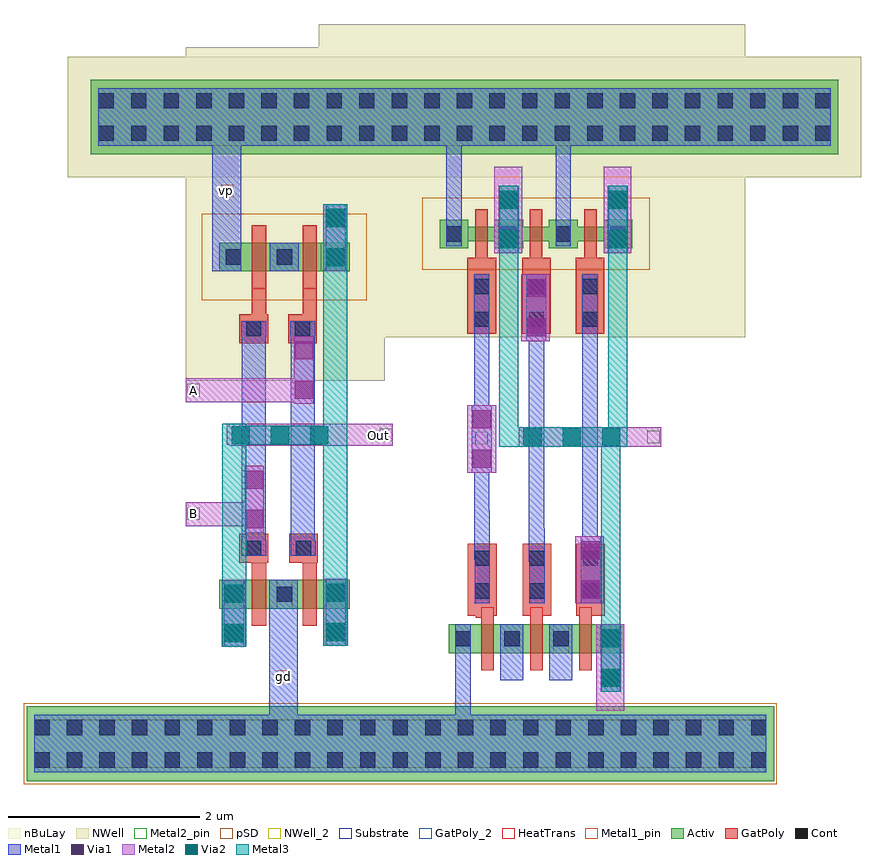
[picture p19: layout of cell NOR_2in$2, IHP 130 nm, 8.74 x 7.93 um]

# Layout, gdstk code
from math import pi, radians
import gdstk
lib = gdstk.Library(unit=1e-6, precision=1e-09)
def R(c, l, rs):  # rectangles x0, y0, x1, y1
    for r in rs: c.add(gdstk.rectangle(r[:2], r[2:], *l))
def A(c, l, x, y, w, h, nx, ny, dx, dy):  # array of equal rectangles
    R(c, l, [(x+i*dx, y+j*dy, x+i*dx+w, y+j*dy+h) for i in range(nx) for j in range(ny)])
Activ = (1, 0)
GatPoly = (5, 0)
GatPoly_2 = (5, 2)
Cont = (6, 0)
Metal1 = (8, 0)
Metal1_pin = (8, 2)
Metal2 = (10, 0)
Metal2_pin = (10, 2)
pSD = (14, 0)
Via1 = (19, 0)
Via2 = (29, 0)
Metal3 = (30, 0)
NWell = (31, 0)
NWell_2 = (31, 2)
nBuLay = (32, 0)
Substrate = (40, 0)
HeatTrans = (51, 0)

pmos_16 = lib.new_cell('pmos$16')
R(pmos_16, Activ, [(0,0,0.3,0.3), (0,0,0.83,0.3), (0.53,0,0.83,0.3)])
R(pmos_16, GatPoly, [(0.34,-0.18,0.49,0.48), (0.34,-0.18,0.49,0.48)])
R(pmos_16, Cont, [(0.07,0.07,0.23,0.23), (0.6,0.07,0.76,0.23)])
R(pmos_16, Metal1, [(0.07,0,0.23,0.3), (0.07,0,0.23,0.3), (0.6,0,0.76,0.3), (0.6,0,0.76,0.3)])
R(pmos_16, pSD, [(-0.18,-0.3,1.01,0.6)])
R(pmos_16, NWell, [(-0.31,-0.31,1.14,0.61)])
R(pmos_16, Substrate, [(0.53,0,0.83,0.3)])
R(pmos_16, HeatTrans, [(0.34,-0.18,0.49,0.48)])
pmos_16.add(gdstk.Label('pmos', (0.415,0.15), layer=63, texttype=0))
pmos_16.add(gdstk.Label('pmos', (0.415,0.15), layer=51, texttype=0))

ntap1_21 = lib.new_cell('ntap1$21')
R(ntap1_21, Activ, [(0,0,1.6,0.78)])
A(ntap1_21, Cont, 0.21, 0.14, 0.16, 0.16, 4, 2, 0.34, 0.34)
R(ntap1_21, Metal1, [(0.21,0.09,1.39,0.69)])
R(ntap1_21, Metal1_pin, [(0.21,0.09,1.39,0.69), (0.21,0.14,1.39,0.64)])
R(ntap1_21, NWell, [(-0.24,-0.24,1.84,1.02), (0,0,1.6,0.78)])
R(ntap1_21, NWell_2, [(0,0,1.6,0.78)])
R(ntap1_21, nBuLay, [(-0.24,-0.24,1.84,1.02)])
ntap1_21.add(gdstk.Label('well', (0.8,0.01), layer=63, texttype=0))
ntap1_21.add(gdstk.Label('well', (0.8,0.01), layer=31, texttype=0))

via_5_10 = lib.new_cell('Via$5$10')
R(via_5_10, GatPoly, [(-0.15,-0.15,0.15,0.15)])
R(via_5_10, Cont, [(-0.08,-0.08,0.08,0.08)])
R(via_5_10, Metal1, [(-0.13,-0.08,0.13,0.08)])

via_6_10 = lib.new_cell('Via$6$10')
R(via_6_10, Metal1, [(-0.105,-0.35,0.105,0.35)])
R(via_6_10, Metal2, [(-0.1,-0.35,0.1,0.35)])
R(via_6_10, Via1, [(-0.095,-0.3,0.095,-0.11), (-0.095,0.11,0.095,0.3)])

ptap1_14 = lib.new_cell('ptap1$14')
R(ptap1_14, Activ, [(0,0,1.6,0.78)])
A(ptap1_14, Cont, 0.21, 0.14, 0.16, 0.16, 4, 2, 0.34, 0.34)
R(ptap1_14, Metal1, [(0.21,0.09,1.39,0.69), (0.21,0.14,1.39,0.64)])
R(ptap1_14, Metal1_pin, [(0.21,0.14,1.39,0.64)])
R(ptap1_14, pSD, [(-0.03,-0.03,1.63,0.81)])
R(ptap1_14, Substrate, [(0,0,1.6,0.78)])
ptap1_14.add(gdstk.Label('sub!', (0.8,0.01), layer=63, texttype=0))
ptap1_14.add(gdstk.Label('sub!', (0.8,0.01), layer=40, texttype=0))

nmos_17 = lib.new_cell('nmos$17')
R(nmos_17, Activ, [(0,0,0.3,0.3), (0,0,0.83,0.3), (0.53,0,0.83,0.3)])
R(nmos_17, GatPoly, [(0.34,-0.18,0.49,0.48)])
R(nmos_17, GatPoly_2, [(0.34,-0.18,0.49,0.48)])
R(nmos_17, Cont, [(0.07,0.07,0.23,0.23), (0.6,0.07,0.76,0.23)])
R(nmos_17, Metal1, [(0.07,0,0.23,0.3), (0.6,0,0.76,0.3)])
R(nmos_17, Metal1_pin, [(0.07,0,0.23,0.3), (0.6,0,0.76,0.3)])
R(nmos_17, HeatTrans, [(0.34,-0.18,0.49,0.48)])
nmos_17.add(gdstk.Label('nmos', (0.415,0.15), layer=63, texttype=0))
nmos_17.add(gdstk.Label('nmos', (0.415,0.15), layer=51, texttype=0))

via_23 = lib.new_cell('Via$23')
R(via_23, Metal2, [(-0.1,-0.35,0.1,0.35)])
R(via_23, Via2, [(-0.095,-0.3,0.095,-0.11), (-0.095,0.11,0.095,0.3)])
R(via_23, Metal3, [(-0.1,-0.35,0.1,0.35)])

via_7_10 = lib.new_cell('Via$7$10')
R(via_7_10, Metal2, [(-0.555,-0.1,0.555,0.1)])
A(via_7_10, Via2, -0.505, -0.095, 0.19, 0.19, 3, 1, 0.41, 0)
R(via_7_10, Metal3, [(-0.555,-0.1,0.555,0.1)])

via_4_8 = lib.new_cell('Via$4$8')
R(via_4_8, Metal1, [(-0.105,-0.35,0.105,0.35)])
R(via_4_8, Metal2, [(-0.1,-0.35,0.1,0.35)])
R(via_4_8, Via1, [(-0.095,-0.3,0.095,-0.11), (-0.095,0.11,0.095,0.3)])

via_7_2_1 = lib.new_cell('Via$7$2$1')
R(via_7_2_1, Metal2, [(-0.1,-0.555,0.1,0.555)])
A(via_7_2_1, Via2, -0.095, -0.505, 0.19, 0.19, 1, 3, 0, 0.41)
R(via_7_2_1, Metal3, [(-0.1,-0.555,0.1,0.555)])

nmos_4_4 = lib.new_cell('nmos$4$4')
A(nmos_4_4, Activ, 0, 0, 0.3, 0.3, 4, 1, 0.51, 0)
R(nmos_4_4, Activ, [(0,0,1.83,0.3)])
A(nmos_4_4, GatPoly, 0.34, -0.18, 0.13, 0.66, 3, 1, 0.51, 0)
R(nmos_4_4, GatPoly_2, [(0.34,-0.18,0.47,0.48)])
A(nmos_4_4, Cont, 0.07, 0.07, 0.16, 0.16, 4, 1, 0.51, 0)
A(nmos_4_4, Metal1, 0.07, 0, 0.16, 0.3, 4, 1, 0.51, 0)
R(nmos_4_4, Metal1_pin, [(0.07,0,0.23,0.3), (0.58,0,0.74,0.3)])
A(nmos_4_4, HeatTrans, 0.34, -0.18, 0.13, 0.66, 3, 1, 0.51, 0)
nmos_4_4.add(gdstk.Label('nmos', (0.405,0.15), layer=63, texttype=0))
nmos_4_4.add(gdstk.Label('nmos', (0.405,0.15), layer=51, texttype=0))
nmos_4_4.add(gdstk.Label('nmos', (0.915,0.15), layer=51, texttype=0))
nmos_4_4.add(gdstk.Label('nmos', (1.425,0.15), layer=51, texttype=0))

ntap1_1_1 = lib.new_cell('ntap1$1$1')
R(ntap1_1_1, Activ, [(0,0,3.5,0.78)])
A(ntap1_1_1, Cont, 0.14, 0.14, 0.16, 0.16, 10, 2, 0.34, 0.34)
R(ntap1_1_1, Metal1, [(0.14,0.09,3.36,0.69)])
R(ntap1_1_1, Metal1_pin, [(0.14,0.09,3.36,0.69), (0.14,0.14,3.36,0.64)])
R(ntap1_1_1, NWell, [(-0.24,-0.24,3.74,1.02), (0,0,3.5,0.78)])
R(ntap1_1_1, NWell_2, [(0,0,3.5,0.78)])
ntap1_1_1.add(gdstk.Label('well', (1.75,0.01), layer=63, texttype=0))
ntap1_1_1.add(gdstk.Label('well', (1.75,0.01), layer=31, texttype=0))

ptap1_3_6 = lib.new_cell('ptap1$3$6')
R(ptap1_3_6, Activ, [(0,0,3.5,0.78)])
A(ptap1_3_6, Cont, 0.14, 0.14, 0.16, 0.16, 10, 2, 0.34, 0.34)
R(ptap1_3_6, Metal1, [(0.14,0.09,3.36,0.69), (0.14,0.14,3.36,0.64)])
R(ptap1_3_6, Metal1_pin, [(0.14,0.14,3.36,0.64)])
R(ptap1_3_6, pSD, [(-0.03,-0.03,3.53,0.81)])
R(ptap1_3_6, Substrate, [(0,0,3.5,0.78)])
ptap1_3_6.add(gdstk.Label('sub!', (1.75,0.01), layer=63, texttype=0))
ptap1_3_6.add(gdstk.Label('sub!', (1.75,0.01), layer=40, texttype=0))

via_5_1 = lib.new_cell('Via$5$1')
R(via_5_1, Metal2, [(-0.1,-0.35,0.1,0.35)])
R(via_5_1, Via2, [(-0.095,-0.3,0.095,-0.11), (-0.095,0.11,0.095,0.3)])
R(via_5_1, Metal3, [(-0.1,-0.35,0.1,0.35)])

via_6_2_1 = lib.new_cell('Via$6$2$1')
R(via_6_2_1, GatPoly, [(-0.32,-0.15,0.32,0.15)])
R(via_6_2_1, Cont, [(-0.25,-0.08,-0.09,0.08), (0.09,-0.08,0.25,0.08)])
R(via_6_2_1, Metal1, [(-0.3,-0.08,0.3,0.08)])

pmos_1_1 = lib.new_cell('pmos$1$1')
A(pmos_1_1, Activ, 0, 0, 0.3, 0.3, 4, 1, 0.57, 0)
R(pmos_1_1, Activ, [(0,0.075,2.01,0.225)])
A(pmos_1_1, GatPoly, 0.37, -0.105, 0.13, 0.51, 3, 1, 0.57, 0)
A(pmos_1_1, Cont, 0.07, 0.07, 0.16, 0.16, 4, 1, 0.57, 0)
A(pmos_1_1, Metal1, 0.07, 0.02, 0.16, 0.26, 4, 1, 0.57, 0)
R(pmos_1_1, pSD, [(-0.18,-0.225,2.19,0.525)])
R(pmos_1_1, NWell, [(-0.31,-0.31,2.32,0.61)])
R(pmos_1_1, Substrate, [(1.71,0,2.01,0.3)])
A(pmos_1_1, HeatTrans, 0.37, -0.105, 0.13, 0.51, 3, 1, 0.57, 0)
pmos_1_1.add(gdstk.Label('pmos', (0.435,0.15), layer=63, texttype=0))
pmos_1_1.add(gdstk.Label('pmos', (0.435,0.15), layer=51, texttype=0))
pmos_1_1.add(gdstk.Label('pmos', (1.005,0.15), layer=51, texttype=0))
pmos_1_1.add(gdstk.Label('pmos', (1.575,0.15), layer=51, texttype=0))

nand_3in_nmosx3_6 = lib.new_cell('NAND_3in_nmosx3$6')
R(nand_3in_nmosx3_6, GatPoly, [(0.115,-3.025,0.245,-2.915), (0.685,-3.025,0.815,-2.915), (0.035,-3.005,0.335,-2.895), (0.605,-3.005,0.905,-2.895), (1.165,-3.005,1.465,-2.895), (0.03,0.58,0.33,0.73), (0.6,0.58,0.9,0.73), (1.16,0.58,1.46,0.73), (0.68,0.68,0.81,0.77), (1.25,0.68,1.38,0.77)])
R(nand_3in_nmosx3_6, Metal1, [(-0.095,-4.15,0.065,-3.37), (0.375,-3.675,0.615,-3.415), (0.885,-3.675,1.125,-3.415), (0.375,-3.435,0.615,-3.095), (0.885,-3.435,1.125,-3.095), (0.67,-2.44,0.835,-2.09), (0.1,-2.42,0.265,-1.91), (0.67,-2.21,0.83,-1.27), (1.23,-2.21,1.39,-1.27), (0.1,-1.91,0.26,-0.56), (0.67,-1.31,0.83,-0.37), (1.23,-1.31,1.39,-0.37), (0.1,-0.62,0.26,-0.04), (1.23,-0.53,1.39,0), (0.67,-0.37,0.83,-0.11), (0.95,1,1.11,1.2), (-0.19,1.01,-0.03,1.15), (-0.19,1.115,-0.03,1.99), (0.95,1.115,1.11,1.94)])
R(nand_3in_nmosx3_6, Metal1_pin, [(0.44,-4.405,0.57,-4.275), (0.74,2.15,0.87,2.28)])
R(nand_3in_nmosx3_6, Metal2, [(1.375,-3.995,1.665,-3.795), (1.375,-3.795,1.665,-3.095), (1.155,-2.875,1.455,-2.175), (0.03,-1.51,0.33,-0.81), (1.62,-1.24,2.05,-1.04), (0.59,-0.14,0.89,0.56), (0.31,0.78,0.6,0.98), (1.45,0.78,1.74,0.98), (0.31,0.98,0.6,1.68), (1.45,0.98,1.74,1.68)])
R(nand_3in_nmosx3_6, Metal2_pin, [(1.255,-2.385,1.385,-2.255), (0.11,-1.215,0.24,-1.085), (1.905,-1.205,2.035,-1.075), (0.69,-0.07,0.82,0.06)])
R(nand_3in_nmosx3_6, Metal3, [(1.425,-3.105,1.625,-2.905), (1.425,-2.905,1.625,-2.5), (1.425,-2.5,1.625,-1.15), (0.36,-1.24,0.56,-0.97), (0.38,-1.24,0.565,-1.04), (1.66,-1.24,1.7,-1.09), (1.5,-1.09,1.7,0.17), (0.36,-0.97,0.56,0.26), (1.5,-0.03,1.7,0.62), (0.36,0.08,0.56,0.78), (1.5,0.62,1.7,0.72), (1.5,0.71,1.7,0.87)])
R(nand_3in_nmosx3_6, NWell, [(-1.52,-0.1,-0.85,3.17), (-0.85,-0.1,2.93,3.17)])
nand_3in_nmosx3_6.add(gdstk.Reference(via_4_8, (1.525,-3.445), rotation=pi))
nand_3in_nmosx3_6.add(gdstk.Reference(via_4_8, (1.315,-2.525), rotation=pi))
nand_3in_nmosx3_6.add(gdstk.Reference(via_4_8, (0.18,-1.16), rotation=pi))
nand_3in_nmosx3_6.add(gdstk.Reference(via_4_8, (0.75,0.21), rotation=pi))
nand_3in_nmosx3_6.add(gdstk.Reference(via_4_8, (0.46,1.13), rotation=pi))
nand_3in_nmosx3_6.add(gdstk.Reference(via_4_8, (1.6,1.13), rotation=pi))
nand_3in_nmosx3_6.add(gdstk.Reference(via_7_2_1, (1.12,-1.14), rotation=3*pi/2))
nand_3in_nmosx3_6.add(gdstk.Reference(nmos_4_4, (1.665,-3.095), rotation=pi))
nand_3in_nmosx3_6.add(gdstk.Reference(ntap1_1_1, (-0.9,1.81)))
nand_3in_nmosx3_6.add(gdstk.Reference(ptap1_3_6, (-0.89,-4.73)))
nand_3in_nmosx3_6.add(gdstk.Reference(via_5_1, (1.525,-3.445), rotation=pi))
nand_3in_nmosx3_6.add(gdstk.Reference(via_5_1, (0.46,1.13), rotation=pi))
nand_3in_nmosx3_6.add(gdstk.Reference(via_5_1, (1.6,1.13), rotation=pi))
nand_3in_nmosx3_6.add(gdstk.Reference(via_6_2_1, (0.185,-2.575), rotation=3*pi/2))
nand_3in_nmosx3_6.add(gdstk.Reference(via_6_2_1, (0.755,-2.575), rotation=3*pi/2))
nand_3in_nmosx3_6.add(gdstk.Reference(via_6_2_1, (1.315,-2.575), rotation=3*pi/2))
nand_3in_nmosx3_6.add(gdstk.Reference(via_6_2_1, (0.18,0.26), rotation=3*pi/2))
nand_3in_nmosx3_6.add(gdstk.Reference(via_6_2_1, (0.75,0.26), rotation=3*pi/2))
nand_3in_nmosx3_6.add(gdstk.Reference(via_6_2_1, (1.31,0.26), rotation=3*pi/2))
nand_3in_nmosx3_6.add(gdstk.Reference(pmos_1_1, (1.75,1.13), rotation=pi))
nand_3in_nmosx3_6.add(gdstk.Label('VP', (0.8,2.21), layer=8, texttype=25))
nand_3in_nmosx3_6.add(gdstk.Label('GND', (0.505,-4.335), layer=8, texttype=25))
nand_3in_nmosx3_6.add(gdstk.Label('y', (1.97,-1.14), layer=10, texttype=25))
nand_3in_nmosx3_6.add(gdstk.Label('b', (0.76,0.02), layer=10, texttype=25))
nand_3in_nmosx3_6.add(gdstk.Label('c', (0.17,-1.15), layer=10, texttype=25))
nand_3in_nmosx3_6.add(gdstk.Label('a', (1.315,-2.325), layer=10, texttype=25))

ptap1_4_1 = lib.new_cell('ptap1$4$1')
R(ptap1_4_1, Activ, [(0,0,7.8,0.78)])
A(ptap1_4_1, Cont, 0.08, 0.14, 0.16, 0.16, 23, 2, 0.34, 0.34)
R(ptap1_4_1, Metal1, [(0.08,0.09,7.72,0.69), (0.08,0.14,7.72,0.64)])
R(ptap1_4_1, Metal1_pin, [(0.08,0.14,7.72,0.64)])
R(ptap1_4_1, pSD, [(-0.03,-0.03,7.83,0.81)])
R(ptap1_4_1, Substrate, [(0,0,7.8,0.78)])
ptap1_4_1.add(gdstk.Label('sub!', (3.9,0.01), layer=63, texttype=0))
ptap1_4_1.add(gdstk.Label('sub!', (3.9,0.01), layer=40, texttype=0))

ntap1_3 = lib.new_cell('ntap1$3')
R(ntap1_3, Activ, [(0,0,7.8,0.78)])
A(ntap1_3, Cont, 0.08, 0.14, 0.16, 0.16, 23, 2, 0.34, 0.34)
R(ntap1_3, Metal1, [(0.08,0.09,7.72,0.69)])
R(ntap1_3, Metal1_pin, [(0.08,0.09,7.72,0.69), (0.08,0.14,7.72,0.64)])
R(ntap1_3, NWell, [(-0.24,-0.24,8.04,1.02), (0,0,7.8,0.78)])
R(ntap1_3, NWell_2, [(0,0,7.8,0.78)])
R(ntap1_3, nBuLay, [(-0.24,-0.24,8.04,1.02)])
ntap1_3.add(gdstk.Label('well', (3.9,0.01), layer=63, texttype=0))
ntap1_3.add(gdstk.Label('well', (3.9,0.01), layer=31, texttype=0))

nor_2in_2 = lib.new_cell('NOR_2in$2')
R(nor_2in_2, GatPoly, [(4.43,0.13,4.58,0.41), (3.9,0.14,4.05,0.41)])
R(nor_2in_2, Metal1, [(3.59,-4.64,4.95,-4.04), (4.09,0.59,4.39,0.89)])
R(nor_2in_2, Metal1_pin, [(4.165,-3.705,4.295,-3.575), (3.575,1.365,3.705,1.495)])
R(nor_2in_2, Metal2, [(3.665,-1.23,5.37,-1)])
R(nor_2in_2, Metal2_pin, [(3.225,-2.005,3.355,-1.875), (5.235,-1.185,5.365,-1.055), (3.225,-0.715,3.355,-0.585)])
R(nor_2in_2, NWell, [(3.21,-0.55,5.29,2.93)])
nor_2in_2.add(gdstk.FlexPath([(3.64,0.59),(3.64,2.5)], 0.3, ends="flush", simple_path=True, layer=8, datatype=0))  # Metal1
nor_2in_2.add(gdstk.FlexPath([(3.92,0.07),(3.92,-2.38)], 0.25, ends="flush", simple_path=True, layer=8, datatype=0))  # Metal1
nor_2in_2.add(gdstk.FlexPath([(4.43,0.07),(4.43,-2.38)], 0.25, ends="flush", simple_path=True, layer=8, datatype=0))  # Metal1
nor_2in_2.add(gdstk.FlexPath([(4.23,-2.63),(4.23,-4.04)], 0.3, ends="flush", simple_path=True, layer=8, datatype=0))  # Metal1
nor_2in_2.add(gdstk.FlexPath([(4.775,-2.62),(4.775,-3.32)], 0.25, ends="flush", simple_path=True, layer=10, datatype=0))  # Metal2
nor_2in_2.add(gdstk.FlexPath([(3.71,-2.63),(3.71,-3.33)], 0.25, ends="flush", simple_path=True, layer=10, datatype=0))  # Metal2
nor_2in_2.add(gdstk.FlexPath([(4.77,1.29),(4.77,0.59)], 0.25, ends="flush", simple_path=True, layer=10, datatype=0))  # Metal2
nor_2in_2.add(gdstk.FlexPath([(4.54,-0.65),(3.21,-0.65)], 0.25, ends="flush", simple_path=True, layer=10, datatype=0))  # Metal2
nor_2in_2.add(gdstk.FlexPath([(4.025,-1.945),(3.21,-1.945)], 0.25, ends="flush", simple_path=True, layer=10, datatype=0))  # Metal2
nor_2in_2.add(gdstk.FlexPath([(4.77,-3.32),(4.77,1.29)], 0.25, ends="flush", simple_path=True, layer=30, datatype=0))  # Metal3
nor_2in_2.add(gdstk.FlexPath([(3.715,-3.33),(3.715,-1)], 0.25, ends="flush", simple_path=True, layer=30, datatype=0))  # Metal3
nor_2in_2.add(gdstk.Reference(pmos_16, (3.56,0.59)))
nor_2in_2.add(gdstk.Reference(pmos_16, (4.09,0.59)))
nor_2in_2.add(gdstk.Reference(ntap1_21, (3.45,1.81)))
nor_2in_2.add(gdstk.Reference(via_5_10, (3.92,-0.01)))
nor_2in_2.add(gdstk.Reference(via_5_10, (4.43,-0.01)))
nor_2in_2.add(gdstk.Reference(via_5_10, (3.92,-2.3)))
nor_2in_2.add(gdstk.Reference(via_5_10, (4.44,-2.3)))
nor_2in_2.add(gdstk.Reference(via_6_10, (3.925,-1.79)))
nor_2in_2.add(gdstk.Reference(via_6_10, (4.445,-0.44)))
nor_2in_2.add(gdstk.Reference(ptap1_14, (3.46,-4.73)))
nor_2in_2.add(gdstk.Reference(nmos_17, (3.56,-2.93)))
nor_2in_2.add(gdstk.Reference(nmos_17, (4.09,-2.93)))
nor_2in_2.add(gdstk.Reference(via_23, (4.77,0.94)))
nor_2in_2.add(gdstk.Reference(via_6_10, (4.775,0.94)))
nor_2in_2.add(gdstk.Reference(via_23, (4.77,-2.97)))
nor_2in_2.add(gdstk.Reference(via_6_10, (4.775,-2.97)))
nor_2in_2.add(gdstk.Reference(via_23, (3.71,-2.98)))
nor_2in_2.add(gdstk.Reference(via_6_10, (3.715,-2.98)))
nor_2in_2.add(gdstk.Reference(via_7_10, (4.195,-1.12)))
nor_2in_2.add(gdstk.Reference(nand_3in_nmosx3_6, (6.12,0)))
nor_2in_2.add(gdstk.Reference(ptap1_4_1, (1.55,-4.73)))
nor_2in_2.add(gdstk.Reference(ntap1_3, (2.22,1.81)))
nor_2in_2.add(gdstk.Label('gd', (4.23,-3.64), layer=8, texttype=25))
nor_2in_2.add(gdstk.Label('vp', (3.64,1.43), layer=8, texttype=25))
nor_2in_2.add(gdstk.Label('Out', (5.22,-1.12), layer=10, texttype=25))
nor_2in_2.add(gdstk.Label('A', (3.29,-0.65), layer=10, texttype=25))
nor_2in_2.add(gdstk.Label('B', (3.29,-1.94), layer=10, texttype=25))

lib.write_gds('NOR_2in_2.gds')
